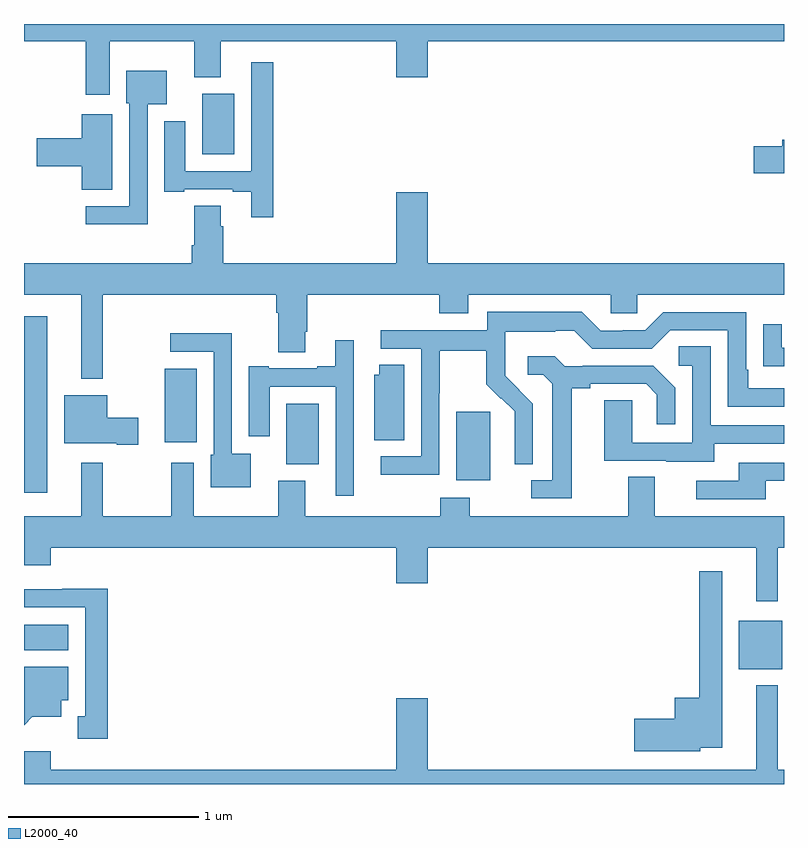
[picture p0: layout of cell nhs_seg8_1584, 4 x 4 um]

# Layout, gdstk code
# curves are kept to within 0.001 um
import gdstk
lib = gdstk.Library(unit=1e-6, precision=1e-09)
def R(c, l, rs):  # rectangles x0, y0, x1, y1
    for r in rs: c.add(gdstk.rectangle(r[:2], r[2:], *l))
def P(c, l, *ps):  # polygons
    for p in ps: c.add(gdstk.Polygon(p, *l))
L2000_40 = (2000, 40)

nhs_seg8_1584 = lib.new_cell('nhs_seg8_1584')
R(nhs_seg8_1584, L2000_40, [(214.763,1138.505,214.99,1138.759), (211,1138.604,211.234,1138.738), (213.275,1139.498,213.454,1139.859), (212.381,1139.582,212.551,1139.902), (211.742,1139.699,211.909,1140.085), (211.937,1141.214,212.107,1141.534)])
P(nhs_seg8_1584, L2000_40, [(211.45,1141.808),(211.895,1141.808),(211.895,1141.619),(212.035,1141.619),(212.035,1141.808),(212.96,1141.808),(212.96,1141.62),(213.124,1141.62),(213.124,1141.808),(215,1141.808),(215,1141.9),(211,1141.9),(211,1141.808),(211.325,1141.808),(211.325,1141.527),(211.45,1141.527)],
  [(212.312,1141.699),(212.196,1141.699),(212.196,1141.125),(211.849,1141.125),(211.849,1141.387),(211.739,1141.387),(211.739,1141.017),(211.843,1141.017),(211.843,1141.029),(212.099,1141.029),(212.099,1141.017),(212.195,1141.017),(212.195,1140.882),(212.312,1140.882)],
  [(211.65,1141.478),(211.75,1141.478),(211.75,1141.654),(211.538,1141.654),(211.538,1141.482),(211.554,1141.482),(211.554,1140.942),(211.326,1140.942),(211.326,1140.845),(211.65,1140.845)],
  [(211.465,1141.426),(211.304,1141.426),(211.304,1141.298),(211.068,1141.298),(211.068,1141.151),(211.304,1141.151),(211.304,1141.027),(211.465,1141.027)],
  [(215,1141.292),(214.991,1141.292),(214.991,1141.256),(214.842,1141.256),(214.842,1141.114),(215,1141.114)],
  [(212.048,1140.836),(212.035,1140.836),(212.035,1140.944),(211.895,1140.944),(211.895,1140.736),(211.883,1140.736),(211.883,1140.64),(211,1140.64),(211,1140.476),(211.301,1140.476),(211.301,1140.032),(211.415,1140.032),(211.415,1140.476),(212.327,1140.476),(212.327,1140.38),(212.339,1140.38),(212.339,1140.172),(212.479,1140.172),(212.479,1140.28),(212.492,1140.28),(212.492,1140.476),(213.185,1140.476),(213.185,1140.377),(213.337,1140.377),(213.337,1140.476),(214.089,1140.476),(214.089,1140.378),(214.227,1140.378),(214.227,1140.476),(215,1140.476),(215,1140.64),(213.124,1140.64),(213.124,1141.015),(212.96,1141.015),(212.96,1140.64),(212.048,1140.64)],
  [(213.186,1139.956),(213.189,1139.956),(213.189,1140.18),(213.433,1140.18),(213.433,1140.005),(213.51,1139.928),(213.513,1139.931),(213.584,1139.861),(213.584,1139.738),(213.582,1139.738),(213.582,1139.584),(213.678,1139.584),(213.678,1139.902),(213.532,1140.05),(213.532,1140.147),(213.534,1140.147),(213.534,1140.281),(213.797,1140.281),(213.797,1140.285),(213.897,1140.285),(213.99,1140.192),(214.305,1140.192),(214.401,1140.288),(214.704,1140.288),(214.704,1139.886),(215,1139.886),(215,1139.982),(214.813,1139.982),(214.813,1140.079),(214.8,1140.079),(214.8,1140.384),(214.365,1140.384),(214.269,1140.288),(214.151,1140.288),(214.151,1140.285),(214.035,1140.285),(213.935,1140.385),(213.438,1140.385),(213.438,1140.288),(212.877,1140.288),(212.877,1140.192),(213.09,1140.192),(213.09,1139.625),(212.877,1139.625),(212.877,1139.527),(213.186,1139.527)],
  [(211.123,1140.361),(211,1140.361),(211,1140.086),(211.002,1140.086),(211.002,1139.433),(211.123,1139.433)],
  [(215,1140.195),(214.987,1140.195),(214.987,1140.319),(214.891,1140.319),(214.891,1140.1),(214.993,1140.1),(214.993,1140.099),(215,1140.099)],
  [(212.194,1139.638),(212.094,1139.638),(212.094,1140.272),(211.77,1140.272),(211.77,1140.174),(211.998,1140.174),(211.998,1139.634),(211.982,1139.634),(211.982,1139.462),(212.194,1139.462)],
  [(212.736,1140.235),(212.639,1140.235),(212.639,1140.1),(212.543,1140.1),(212.543,1140.087),(212.287,1140.087),(212.287,1140.1),(212.183,1140.1),(212.183,1139.73),(212.293,1139.73),(212.293,1139.991),(212.64,1139.991),(212.64,1139.418),(212.736,1139.418)],
  [(214.633,1139.691),(215,1139.691),(215,1139.787),(214.614,1139.787),(214.614,1140.203),(214.446,1140.203),(214.446,1140.102),(214.518,1140.102),(214.518,1139.697),(214.2,1139.697),(214.2,1139.921),(214.055,1139.921),(214.055,1139.601),(214.379,1139.601),(214.379,1139.597),(214.633,1139.597)],
  [(213.883,1139.984),(213.979,1139.984),(213.979,1140.006),(214.274,1140.006),(214.331,1139.949),(214.331,1139.793),(214.428,1139.793),(214.428,1139.986),(214.312,1140.102),(213.94,1140.102),(213.94,1140.099),(213.846,1140.099),(213.794,1140.151),(213.651,1140.151),(213.651,1140.054),(213.732,1140.054),(213.779,1140.007),(213.779,1139.499),(213.669,1139.499),(213.669,1139.403),(213.883,1139.403)],
  [(213.001,1140.107),(212.87,1140.107),(212.87,1140.054),(212.843,1140.054),(212.843,1139.71),(213.001,1139.71)],
  [(211.6,1139.828),(211.438,1139.828),(211.438,1139.947),(211.211,1139.947),(211.211,1139.693),(211.487,1139.693),(211.487,1139.686),(211.6,1139.686)],
  [(214.903,1139.496),(215,1139.496),(215,1139.592),(214.763,1139.592),(214.763,1139.496),(214.539,1139.496),(214.539,1139.4),(214.903,1139.4)],
  [(214.967,1139.144),(215,1139.144),(215,1139.308),(214.321,1139.308),(214.321,1139.516),(214.181,1139.516),(214.181,1139.308),(213.345,1139.308),(213.345,1139.407),(213.19,1139.407),(213.19,1139.308),(212.479,1139.308),(212.479,1139.497),(212.339,1139.497),(212.339,1139.308),(211.894,1139.308),(211.894,1139.59),(211.774,1139.59),(211.774,1139.308),(211.415,1139.308),(211.415,1139.59),(211.301,1139.59),(211.301,1139.308),(211,1139.308),(211,1139.051),(211.142,1139.051),(211.142,1139.144),(212.96,1139.144),(212.96,1138.956),(213.124,1138.956),(213.124,1139.144),(214.853,1139.144),(214.853,1138.863),(214.967,1138.863)],
  [(214.56,1138.091),(214.675,1138.091),(214.675,1139.02),(214.554,1139.02),(214.554,1138.354),(214.424,1138.354),(214.424,1138.244),(214.212,1138.244),(214.212,1138.073),(214.56,1138.073)],
  [(211.441,1138.928),(211.2,1138.928),(211.2,1138.926),(211,1138.926),(211,1138.83),(211.322,1138.83),(211.322,1138.257),(211.283,1138.257),(211.283,1138.137),(211.441,1138.137)],
  [(211.043,1138.253),(211.195,1138.253),(211.195,1138.34),(211.234,1138.34),(211.234,1138.516),(211,1138.516),(211,1138.21)],
  [(211.142,1138.072),(211,1138.072),(211,1137.9),(215,1137.9),(215,1137.976),(214.967,1137.976),(214.967,1138.42),(214.853,1138.42),(214.853,1137.976),(213.124,1137.976),(213.124,1138.351),(212.96,1138.351),(212.96,1137.976),(211.142,1137.976)])

lib.write_gds('nhs_seg8_1584.gds')
